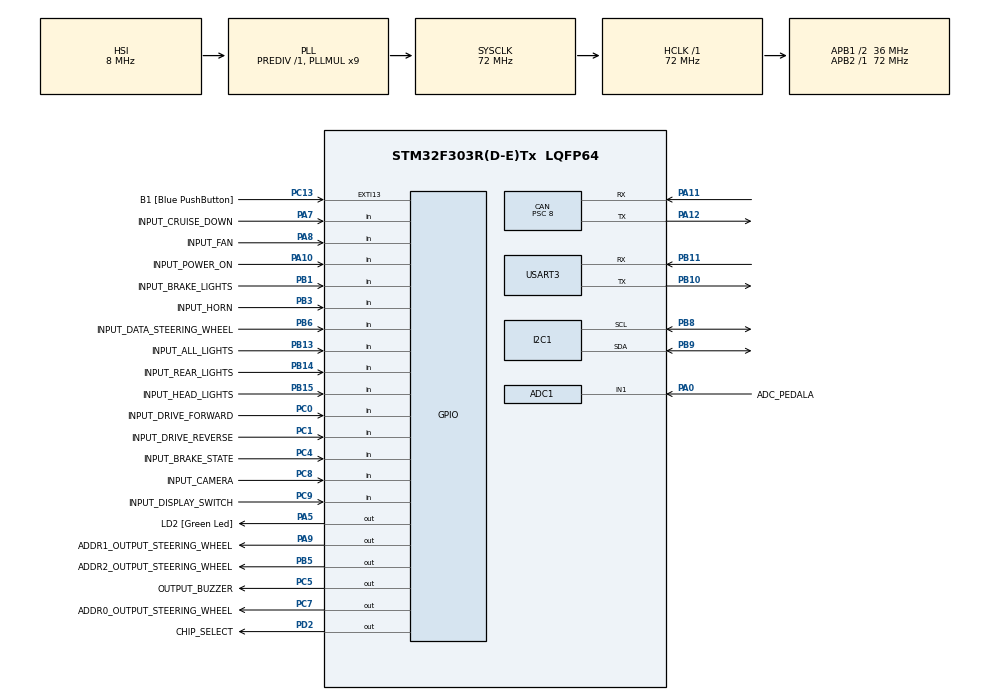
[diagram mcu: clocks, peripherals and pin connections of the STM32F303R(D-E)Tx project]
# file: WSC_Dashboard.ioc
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ADC1.Channel-0\#ChannelRegularConversion=ADC_CHANNEL_1
ADC1.NbrOfConversionFlag=1
ADC1.Offset-0\#ChannelRegularConversion=0
ADC1.OffsetNumber-0\#ChannelRegularConversion=ADC_OFFSET_NONE
ADC1.Rank-0\#ChannelRegularConversion=1
ADC1.SamplingTime-0\#ChannelRegularConversion=ADC_SAMPLETIME_1CYCLE_5
ADC1.SamplingTimeOPAMP-0\#ChannelRegularConversion=ADC_SAMPLETIME_61CYCLES_5
ADC1.master=1
CAN.ABOM=ENABLE
CAN.AWUM=DISABLE
CAN.BS1=CAN_BS1_15TQ
CAN.BS2=CAN_BS2_2TQ
CAN.CalculateBaudRate=250000
CAN.CalculateTimeBit=4000
CAN.CalculateTimeQuantum=222.22222222222223
CAN.NART=DISABLE
CAN.Prescaler=8
I2C1.Timing=0x00201D2B
Mcu.Family=STM32F3
Mcu.Name=STM32F303R(D-E)Tx
Mcu.Package=LQFP64
NVIC.PriorityGroup=NVIC_PRIORITYGROUP_4
NVIC.TIM6_DAC_IRQn=true\:15\:0\:false\:false\:true\:false\:true\:true
NVIC.TimeBase=TIM6_DAC_IRQn
NVIC.TimeBaseIP=TIM6
NVIC.USART3_IRQn=true\:5\:0\:true\:false\:false\:true\:true\:true
NVIC.USB_LP_CAN_RX0_IRQn=true\:5\:0\:true\:false\:false\:true\:true\:true
PA0.GPIO_Label=ADC_PEDALA
PA0.Mode=IN1-Single-Ended
PA0.Signal=ADC1_IN1
PA10.GPIO_Label=INPUT_POWER_ON
PA10.Signal=GPIO_Input
PA11.Mode=CAN_Activate
PA11.Signal=CAN_RX
PA12.Mode=CAN_Activate
PA12.Signal=CAN_TX
PA13.GPIO_Label=TMS
PA13.Mode=Serial_Wire
PA13.Signal=SYS_JTMS-SWDIO
PA14.GPIO_Label=TCK
PA14.Mode=Serial_Wire
PA14.Signal=SYS_JTCK-SWCLK
PA2.GPIO_Label=GPS_TX
PA2.GPIO_Mode=GPIO_MODE_AF_PP
PA2.GPIO_PuPd=GPIO_NOPULL
PA2.GPIO_Speed=GPIO_SPEED_FREQ_LOW
PA2.Signal=USART2_TX
PA5.GPIO_Label=LD2 [Green Led]
PA5.GPIO_Mode=GPIO_MODE_OUTPUT_PP
PA5.GPIO_PuPd=GPIO_PULLDOWN
PA5.GPIO_Speed=GPIO_SPEED_FREQ_LOW
PA5.Signal=GPIO_Output
PA7.GPIO_Label=INPUT_CRUISE_DOWN
PA7.GPIO_PuPd=GPIO_PULLDOWN
PA7.Signal=GPIO_Input
PA8.GPIO_Label=INPUT_FAN
PA8.GPIO_PuPd=GPIO_PULLDOWN
PA8.Signal=GPIO_Input
PA9.GPIO_Label=ADDR1_OUTPUT_STEERING_WHEEL
PA9.Signal=GPIO_Output
PB1.GPIO_Label=INPUT_BRAKE_LIGHTS
PB1.GPIO_PuPd=GPIO_PULLUP
PB1.Signal=GPIO_Input
PB10.Mode=Asynchronous
PB10.Signal=USART3_TX
PB11.Mode=Asynchronous
PB11.Signal=USART3_RX
PB13.GPIO_Label=INPUT_ALL_LIGHTS
PB13.GPIO_PuPd=GPIO_PULLDOWN
PB13.Signal=GPIO_Input
PB14.GPIO_Label=INPUT_REAR_LIGHTS
PB14.GPIO_PuPd=GPIO_PULLDOWN
PB14.Signal=GPIO_Input
PB15.GPIO_Label=INPUT_HEAD_LIGHTS
PB15.GPIO_PuPd=GPIO_PULLDOWN
PB15.Signal=GPIO_Input
PB3.GPIO_Label=INPUT_HORN
PB3.GPIO_PuPd=GPIO_PULLDOWN
PB3.Signal=GPIO_Input
PB5.GPIO_Label=ADDR2_OUTPUT_STEERING_WHEEL
PB5.Signal=GPIO_Output
PB6.GPIO_Label=INPUT_DATA_STEERING_WHEEL
PB6.GPIO_PuPd=GPIO_NOPULL
PB6.Signal=GPIO_Input
PB8.Mode=I2C
PB8.Signal=I2C1_SCL
PB9.Mode=I2C
PB9.Signal=I2C1_SDA
PC0.GPIO_Label=INPUT_DRIVE_FORWARD
PC0.GPIO_PuPd=GPIO_PULLDOWN
PC0.Signal=GPIO_Input
PC1.GPIO_Label=INPUT_DRIVE_REVERSE
PC1.GPIO_PuPd=GPIO_PULLDOWN
PC1.Signal=GPIO_Input
PC13.GPIO_Label=B1 [Blue PushButton]
PC13.GPIO_ModeDefaultEXTI=GPIO_MODE_IT_FALLING
PC13.GPIO_PuPd=GPIO_PULLDOWN
PC13.Signal=GPXTI13
PC14-OSC32_IN.Signal=RCC_OSC32_IN
PC15-OSC32_OUT.Signal=RCC_OSC32_OUT
PC4.GPIO_Label=INPUT_BRAKE_STATE
PC4.GPIO_PuPd=GPIO_PULLDOWN
PC4.Signal=GPIO_Input
PC5.GPIO_Label=OUTPUT_BUZZER
PC5.Signal=GPIO_Output
PC7.GPIO_Label=ADDR0_OUTPUT_STEERING_WHEEL
PC7.Signal=GPIO_Output
PC8.GPIO_Label=INPUT_CAMERA
PC8.GPIO_PuPd=GPIO_PULLDOWN
PC8.Signal=GPIO_Input
PC9.GPIO_Label=INPUT_DISPLAY_SWITCH
PC9.GPIO_PuPd=GPIO_PULLDOWN
PC9.Signal=GPIO_Input
PD2.GPIO_Label=CHIP_SELECT
PD2.Signal=GPIO_Output
PF0-OSC_IN.Mode=HSE-External-Oscillator
PF0-OSC_IN.Signal=RCC_OSC_IN
PF1-OSC_OUT.Mode=HSE-External-Oscillator
PF1-OSC_OUT.Signal=RCC_OSC_OUT
ProjectManager.HeapSize=0x200
ProjectManager.StackSize=0x400
ProjectManager.TargetToolchain=STM32CubeIDE
RCC.AHBFreq_Value=72000000
RCC.APB1CLKDivider=RCC_HCLK_DIV2
RCC.APB1Freq_Value=36000000
RCC.APB1TimFreq_Value=72000000
RCC.APB2Freq_Value=72000000
RCC.APB2TimFreq_Value=72000000
RCC.CortexFreq_Value=72000000
RCC.HCLKFreq_Value=72000000
RCC.HSE_VALUE=8000000
RCC.HSI_VALUE=8000000
RCC.LSE_VALUE=32768
RCC.PLLM=8
RCC.PLLMUL=RCC_PLL_MUL9
RCC.PLLN=336
RCC.PLLP=RCC_PLLP_DIV4
RCC.PLLQ=7
RCC.RCC_PLLsource_Clock_Source_FROM_HSE=RCC_HSE_PREDIV_DIV2
RCC.SYSCLKFreq_VALUE=72000000
RCC.SYSCLKSourceVirtual=RCC_SYSCLKSOURCE_PLLCLK
RCC.USBFreq_Value=72000000
USART3.VirtualMode-Asynchronous=VM_ASYNC
VP_SYS_VS_tim6.Mode=TIM6
board=NUCLEO-F303RE

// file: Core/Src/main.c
/* USER CODE BEGIN Header */
/**
 ******************************************************************************
 * @file           : main.c
 * @brief          : Main program body
 ******************************************************************************
 * @attention
 *
 * Copyright (c) 2025 STMicroelectronics.
 * All rights reserved.
 *
 * This software is licensed under terms that can be found in the LICENSE file
 * in the root directory of this software component.
 * If no LICENSE file comes with this software, it is provided AS-IS.
 *
 ******************************************************************************
 */
/* USER CODE END Header */
#include "main.h"

ADC_HandleTypeDef hadc1;

CAN_HandleTypeDef hcan;

I2C_HandleTypeDef hi2c1;

UART_HandleTypeDef huart3;

void SystemClock_Config(void);
static void MX_GPIO_Init(void);
static void MX_CAN_Init(void);
static void MX_ADC1_Init(void);
static void MX_I2C1_Init(void);
static void MX_USART3_UART_Init(void);

int main(void)
{

  /* MCU Configuration--------------------------------------------------------*/

  /* Reset of all peripherals, Initializes the Flash interface and the Systick. */
  HAL_Init();

  /* Configure the system clock */
  SystemClock_Config();

  /* Initialize all configured peripherals */
  MX_GPIO_Init();
  MX_CAN_Init();
  MX_ADC1_Init();
  MX_I2C1_Init();
  MX_USART3_UART_Init();
  /* USER CODE BEGIN 2 */

	/*************************************PERIPHERAL INITIALIZATION START HERE ***********************************************/
    configASSERT(!HAL_CAN_Start(&hcan));
	Display_Init();

	/*************************************PERIPHERAL INITIALIZATION END HERE ***********************************************/
#if (SEGGER_DEBUG_PROBE == 1)
	//Segger tracing start
	SEGGER_SYSVIEW_Conf();
	SEGGER_SYSVIEW_Start();
#endif

	TaskHandle_t config_handle;
	configASSERT(
			xTaskCreate((TaskFunction_t) config_handler, "config", 500, NULL, 8, &config_handle));

	vTaskStartScheduler();
  /* USER CODE END 2 */

  /* Infinite loop */
	while (1)
	{

	}
}

void SystemClock_Config(void)
{
  RCC_OscInitTypeDef RCC_OscInitStruct = {0};
  RCC_ClkInitTypeDef RCC_ClkInitStruct = {0};
  RCC_PeriphCLKInitTypeDef PeriphClkInit = {0};

  /** Initializes the RCC Oscillators according to the specified parameters
  * in the RCC_OscInitTypeDef structure.
  */
  RCC_OscInitStruct.OscillatorType = RCC_OSCILLATORTYPE_HSI;
  RCC_OscInitStruct.HSIState = RCC_HSI_ON;
  RCC_OscInitStruct.HSICalibrationValue = RCC_HSICALIBRATION_DEFAULT;
  RCC_OscInitStruct.PLL.PLLState = RCC_PLL_ON;
  RCC_OscInitStruct.PLL.PLLSource = RCC_PLLSOURCE_HSI;
  RCC_OscInitStruct.PLL.PLLMUL = RCC_PLL_MUL9;
  RCC_OscInitStruct.PLL.PREDIV = RCC_PREDIV_DIV1;
  if (HAL_RCC_OscConfig(&RCC_OscInitStruct) != HAL_OK)
  {
    Error_Handler();
  }

  /** Initializes the CPU, AHB and APB buses clocks
  */
  RCC_ClkInitStruct.ClockType = RCC_CLOCKTYPE_HCLK|RCC_CLOCKTYPE_SYSCLK
                              |RCC_CLOCKTYPE_PCLK1|RCC_CLOCKTYPE_PCLK2;
  RCC_ClkInitStruct.SYSCLKSource = RCC_SYSCLKSOURCE_PLLCLK;
  RCC_ClkInitStruct.AHBCLKDivider = RCC_SYSCLK_DIV1;
  RCC_ClkInitStruct.APB1CLKDivider = RCC_HCLK_DIV2;
  RCC_ClkInitStruct.APB2CLKDivider = RCC_HCLK_DIV1;

  if (HAL_RCC_ClockConfig(&RCC_ClkInitStruct, FLASH_LATENCY_2) != HAL_OK)
  {
    Error_Handler();
  }
  PeriphClkInit.PeriphClockSelection = RCC_PERIPHCLK_USART3|RCC_PERIPHCLK_I2C1
                              |RCC_PERIPHCLK_ADC12;
  PeriphClkInit.Usart3ClockSelection = RCC_USART3CLKSOURCE_PCLK1;
  PeriphClkInit.Adc12ClockSelection = RCC_ADC12PLLCLK_DIV1;
  PeriphClkInit.I2c1ClockSelection = RCC_I2C1CLKSOURCE_HSI;
  if (HAL_RCCEx_PeriphCLKConfig(&PeriphClkInit) != HAL_OK)
  {
    Error_Handler();
  }
}

static void MX_ADC1_Init(void)
{

  ADC_MultiModeTypeDef multimode = {0};
  ADC_ChannelConfTypeDef sConfig = {0};

  /** Common config
  */
  hadc1.Instance = ADC1;
  hadc1.Init.ClockPrescaler = ADC_CLOCK_ASYNC_DIV1;
  hadc1.Init.Resolution = ADC_RESOLUTION_12B;
  hadc1.Init.ScanConvMode = ADC_SCAN_DISABLE;
  hadc1.Init.ContinuousConvMode = DISABLE;
  hadc1.Init.DiscontinuousConvMode = DISABLE;
  hadc1.Init.ExternalTrigConvEdge = ADC_EXTERNALTRIGCONVEDGE_NONE;
  hadc1.Init.ExternalTrigConv = ADC_SOFTWARE_START;
  hadc1.Init.DataAlign = ADC_DATAALIGN_RIGHT;
  hadc1.Init.NbrOfConversion = 1;
  hadc1.Init.DMAContinuousRequests = DISABLE;
  hadc1.Init.EOCSelection = ADC_EOC_SINGLE_CONV;
  hadc1.Init.LowPowerAutoWait = DISABLE;
  hadc1.Init.Overrun = ADC_OVR_DATA_OVERWRITTEN;
  if (HAL_ADC_Init(&hadc1) != HAL_OK)
  {
    Error_Handler();
  }

  /** Configure the ADC multi-mode
  */
  multimode.Mode = ADC_MODE_INDEPENDENT;
  if (HAL_ADCEx_MultiModeConfigChannel(&hadc1, &multimode) != HAL_OK)
  {
    Error_Handler();
  }

  /** Configure Regular Channel
  */
  sConfig.Channel = ADC_CHANNEL_1;
  sConfig.Rank = ADC_REGULAR_RANK_1;
  sConfig.SingleDiff = ADC_SINGLE_ENDED;
  sConfig.SamplingTime = ADC_SAMPLETIME_1CYCLE_5;
  sConfig.OffsetNumber = ADC_OFFSET_NONE;
  sConfig.Offset = 0;
  if (HAL_ADC_ConfigChannel(&hadc1, &sConfig) != HAL_OK)
  {
    Error_Handler();
  }

}

static void MX_CAN_Init(void)
{

  hcan.Instance = CAN;
  hcan.Init.Prescaler = 8;
  hcan.Init.Mode = CAN_MODE_NORMAL;
  hcan.Init.SyncJumpWidth = CAN_SJW_1TQ;
  hcan.Init.TimeSeg1 = CAN_BS1_15TQ;
  hcan.Init.TimeSeg2 = CAN_BS2_2TQ;
  hcan.Init.TimeTriggeredMode = DISABLE;
  hcan.Init.AutoBusOff = ENABLE;
  hcan.Init.AutoWakeUp = DISABLE;
  hcan.Init.AutoRetransmission = DISABLE;
  hcan.Init.ReceiveFifoLocked = DISABLE;
  hcan.Init.TransmitFifoPriority = DISABLE;
  if (HAL_CAN_Init(&hcan) != HAL_OK)
  {
    Error_Handler();
  }
  /* USER CODE BEGIN CAN_Init 2 */
	CAN_FilterTypeDef canfilterconfig;

	canfilterconfig.FilterActivation = CAN_FILTER_ENABLE;
	canfilterconfig.FilterBank = 10;
	canfilterconfig.FilterFIFOAssignment = CAN_RX_FIFO0;
	canfilterconfig.FilterIdHigh = 0; //this tells what to compare the incoming data to
	canfilterconfig.FilterIdLow = 0x0000;
	canfilterconfig.FilterMaskIdHigh = 0; //this tells which bits to compare
	canfilterconfig.FilterMaskIdLow = 0x0000;
	canfilterconfig.FilterMode = CAN_FILTERMODE_IDMASK;
	canfilterconfig.FilterScale = CAN_FILTERSCALE_32BIT;
	canfilterconfig.SlaveStartFilterBank = 10;

	HAL_CAN_ConfigFilter(&hcan, &canfilterconfig);
  /* USER CODE END CAN_Init 2 */

}

static void MX_I2C1_Init(void)
{

  hi2c1.Instance = I2C1;
  hi2c1.Init.Timing = 0x00201D2B;
  hi2c1.Init.OwnAddress1 = 0;
  hi2c1.Init.AddressingMode = I2C_ADDRESSINGMODE_7BIT;
  hi2c1.Init.DualAddressMode = I2C_DUALADDRESS_DISABLE;
  hi2c1.Init.OwnAddress2 = 0;
  hi2c1.Init.OwnAddress2Masks = I2C_OA2_NOMASK;
  hi2c1.Init.GeneralCallMode = I2C_GENERALCALL_DISABLE;
  hi2c1.Init.NoStretchMode = I2C_NOSTRETCH_DISABLE;
  if (HAL_I2C_Init(&hi2c1) != HAL_OK)
  {
    Error_Handler();
  }

  /** Configure Analogue filter
  */
  if (HAL_I2CEx_ConfigAnalogFilter(&hi2c1, I2C_ANALOGFILTER_ENABLE) != HAL_OK)
  {
    Error_Handler();
  }

  /** Configure Digital filter
  */
  if (HAL_I2CEx_ConfigDigitalFilter(&hi2c1, 0) != HAL_OK)
  {
    Error_Handler();
  }

}

static void MX_USART3_UART_Init(void)
{

  huart3.Instance = USART3;
  huart3.Init.BaudRate = 38400;
  huart3.Init.WordLength = UART_WORDLENGTH_8B;
  huart3.Init.StopBits = UART_STOPBITS_1;
  huart3.Init.Parity = UART_PARITY_NONE;
  huart3.Init.Mode = UART_MODE_TX_RX;
  huart3.Init.HwFlowCtl = UART_HWCONTROL_NONE;
  huart3.Init.OverSampling = UART_OVERSAMPLING_16;
  huart3.Init.OneBitSampling = UART_ONE_BIT_SAMPLE_DISABLE;
  huart3.AdvancedInit.AdvFeatureInit = UART_ADVFEATURE_NO_INIT;
  if (HAL_UART_Init(&huart3) != HAL_OK)
  {
    Error_Handler();
  }

}

static void MX_GPIO_Init(void)
{
  GPIO_InitTypeDef GPIO_InitStruct = {0};

  /* GPIO Ports Clock Enable */
  __HAL_RCC_GPIOC_CLK_ENABLE();
  __HAL_RCC_GPIOF_CLK_ENABLE();
  __HAL_RCC_GPIOA_CLK_ENABLE();
  __HAL_RCC_GPIOB_CLK_ENABLE();
  __HAL_RCC_GPIOD_CLK_ENABLE();

  /*Configure GPIO pin Output Level */
  HAL_GPIO_WritePin(GPIOA, LD2_Pin|ADDR1_OUTPUT_STEERING_WHEEL_Pin, GPIO_PIN_RESET);

  /*Configure GPIO pin Output Level */
  HAL_GPIO_WritePin(GPIOC, OUTPUT_BUZZER_Pin|ADDR0_OUTPUT_STEERING_WHEEL_Pin, GPIO_PIN_RESET);

  /*Configure GPIO pin Output Level */
  HAL_GPIO_WritePin(CHIP_SELECT_GPIO_Port, CHIP_SELECT_Pin, GPIO_PIN_RESET);

  /*Configure GPIO pin Output Level */
  HAL_GPIO_WritePin(ADDR2_OUTPUT_STEERING_WHEEL_GPIO_Port, ADDR2_OUTPUT_STEERING_WHEEL_Pin, GPIO_PIN_RESET);

  /*Configure GPIO pin : B1_Pin */
  GPIO_InitStruct.Pin = B1_Pin;
  GPIO_InitStruct.Mode = GPIO_MODE_IT_FALLING;
  GPIO_InitStruct.Pull = GPIO_PULLDOWN;
  HAL_GPIO_Init(B1_GPIO_Port, &GPIO_InitStruct);

  /*Configure GPIO pins : INPUT_DRIVE_FORWARD_Pin INPUT_DRIVE_REVERSE_Pin INPUT_BRAKE_STATE_Pin INPUT_CAMERA_Pin
                           INPUT_DISPLAY_SWITCH_Pin */
  GPIO_InitStruct.Pin = INPUT_DRIVE_FORWARD_Pin|INPUT_DRIVE_REVERSE_Pin|INPUT_BRAKE_STATE_Pin|INPUT_CAMERA_Pin
                          |INPUT_DISPLAY_SWITCH_Pin;
  GPIO_InitStruct.Mode = GPIO_MODE_INPUT;
  GPIO_InitStruct.Pull = GPIO_PULLDOWN;
  HAL_GPIO_Init(GPIOC, &GPIO_InitStruct);

  /*Configure GPIO pin : GPS_TX_Pin */
  GPIO_InitStruct.Pin = GPS_TX_Pin;
  GPIO_InitStruct.Mode = GPIO_MODE_AF_PP;
  GPIO_InitStruct.Pull = GPIO_NOPULL;
  GPIO_InitStruct.Speed = GPIO_SPEED_FREQ_LOW;
  GPIO_InitStruct.Alternate = GPIO_AF7_USART2;
  HAL_GPIO_Init(GPS_TX_GPIO_Port, &GPIO_InitStruct);

  /*Configure GPIO pin : LD2_Pin */
  GPIO_InitStruct.Pin = LD2_Pin;
  GPIO_InitStruct.Mode = GPIO_MODE_OUTPUT_PP;
  GPIO_InitStruct.Pull = GPIO_PULLDOWN;
  GPIO_InitStruct.Speed = GPIO_SPEED_FREQ_LOW;
  HAL_GPIO_Init(LD2_GPIO_Port, &GPIO_InitStruct);

  /*Configure GPIO pins : INPUT_CRUISE_DOWN_Pin INPUT_FAN_Pin */
  GPIO_InitStruct.Pin = INPUT_CRUISE_DOWN_Pin|INPUT_FAN_Pin;
  GPIO_InitStruct.Mode = GPIO_MODE_INPUT;
  GPIO_InitStruct.Pull = GPIO_PULLDOWN;
  HAL_GPIO_Init(GPIOA, &GPIO_InitStruct);

  /*Configure GPIO pins : OUTPUT_BUZZER_Pin ADDR0_OUTPUT_STEERING_WHEEL_Pin */
  GPIO_InitStruct.Pin = OUTPUT_BUZZER_Pin|ADDR0_OUTPUT_STEERING_WHEEL_Pin;
  GPIO_InitStruct.Mode = GPIO_MODE_OUTPUT_PP;
  GPIO_InitStruct.Pull = GPIO_NOPULL;
  GPIO_InitStruct.Speed = GPIO_SPEED_FREQ_LOW;
  HAL_GPIO_Init(GPIOC, &GPIO_InitStruct);

  /*Configure GPIO pin : INPUT_BRAKE_LIGHTS_Pin */
  GPIO_InitStruct.Pin = INPUT_BRAKE_LIGHTS_Pin;
  GPIO_InitStruct.Mode = GPIO_MODE_INPUT;
  GPIO_InitStruct.Pull = GPIO_PULLUP;
  HAL_GPIO_Init(INPUT_BRAKE_LIGHTS_GPIO_Port, &GPIO_InitStruct);

  /*Configure GPIO pins : INPUT_ALL_LIGHTS_Pin INPUT_REAR_LIGHTS_Pin INPUT_HEAD_LIGHTS_Pin INPUT_HORN_Pin */
  GPIO_InitStruct.Pin = INPUT_ALL_LIGHTS_Pin|INPUT_REAR_LIGHTS_Pin|INPUT_HEAD_LIGHTS_Pin|INPUT_HORN_Pin;
  GPIO_InitStruct.Mode = GPIO_MODE_INPUT;
  GPIO_InitStruct.Pull = GPIO_PULLDOWN;
  HAL_GPIO_Init(GPIOB, &GPIO_InitStruct);

  /*Configure GPIO pin : ADDR1_OUTPUT_STEERING_WHEEL_Pin */
  GPIO_InitStruct.Pin = ADDR1_OUTPUT_STEERING_WHEEL_Pin;
  GPIO_InitStruct.Mode = GPIO_MODE_OUTPUT_PP;
  GPIO_InitStruct.Pull = GPIO_NOPULL;
  GPIO_InitStruct.Speed = GPIO_SPEED_FREQ_LOW;
  HAL_GPIO_Init(ADDR1_OUTPUT_STEERING_WHEEL_GPIO_Port, &GPIO_InitStruct);

  /*Configure GPIO pin : INPUT_POWER_ON_Pin */
  GPIO_InitStruct.Pin = INPUT_POWER_ON_Pin;
  GPIO_InitStruct.Mode = GPIO_MODE_INPUT;
  GPIO_InitStruct.Pull = GPIO_NOPULL;
  HAL_GPIO_Init(INPUT_POWER_ON_GPIO_Port, &GPIO_InitStruct);

  /*Configure GPIO pin : CHIP_SELECT_Pin */
  GPIO_InitStruct.Pin = CHIP_SELECT_Pin;
  GPIO_InitStruct.Mode = GPIO_MODE_OUTPUT_PP;
  GPIO_InitStruct.Pull = GPIO_NOPULL;
  GPIO_InitStruct.Speed = GPIO_SPEED_FREQ_LOW;
  HAL_GPIO_Init(CHIP_SELECT_GPIO_Port, &GPIO_InitStruct);

  /*Configure GPIO pin : ADDR2_OUTPUT_STEERING_WHEEL_Pin */
  GPIO_InitStruct.Pin = ADDR2_OUTPUT_STEERING_WHEEL_Pin;
  GPIO_InitStruct.Mode = GPIO_MODE_OUTPUT_PP;
  GPIO_InitStruct.Pull = GPIO_NOPULL;
  GPIO_InitStruct.Speed = GPIO_SPEED_FREQ_LOW;
  HAL_GPIO_Init(ADDR2_OUTPUT_STEERING_WHEEL_GPIO_Port, &GPIO_InitStruct);

  /*Configure GPIO pin : INPUT_DATA_STEERING_WHEEL_Pin */
  GPIO_InitStruct.Pin = INPUT_DATA_STEERING_WHEEL_Pin;
  GPIO_InitStruct.Mode = GPIO_MODE_INPUT;
  GPIO_InitStruct.Pull = GPIO_NOPULL;
  HAL_GPIO_Init(INPUT_DATA_STEERING_WHEEL_GPIO_Port, &GPIO_InitStruct);

}

void HAL_TIM_PeriodElapsedCallback(TIM_HandleTypeDef *htim)
{
  if (htim->Instance == TIM6) {
    HAL_IncTick();
  }
}

void Error_Handler(void)
{
	__disable_irq();
	while (1)
	{
	}
}
